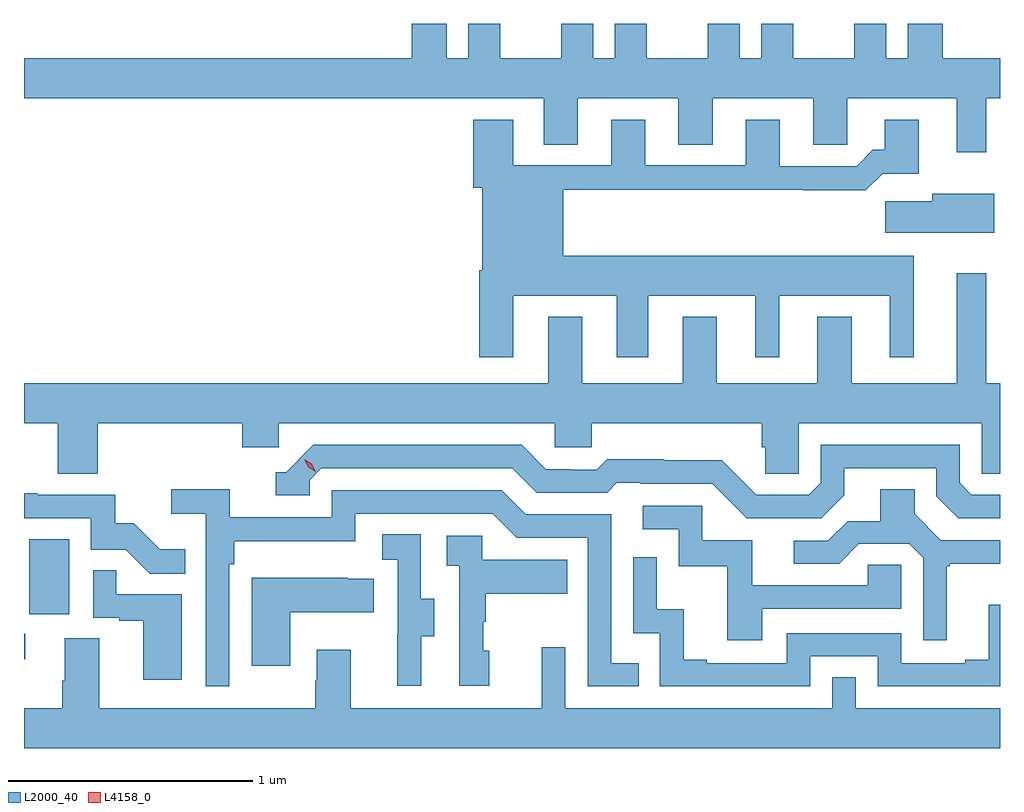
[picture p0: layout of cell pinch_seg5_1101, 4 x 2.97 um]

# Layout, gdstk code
import gdstk
lib = gdstk.Library(unit=1e-6, precision=1e-09)
def R(c, l, rs):  # rectangles x0, y0, x1, y1
    for r in rs: c.add(gdstk.rectangle(r[:2], r[2:], *l))
def P(c, l, *ps):  # polygons
    for p in ps: c.add(gdstk.Polygon(p, *l))
L2000_40 = (2000, 40)
L4158_0 = (4158, 0)

pinch_seg5_1101 = lib.new_cell('pinch_seg5_1101')
R(pinch_seg5_1101, L2000_40, [(818.423,849.132,818.428,849.237), (818.444,849.318,818.608,849.625)])
P(pinch_seg5_1101, L2000_40, [(822.367,851.432),(822.423,851.432),(822.423,851.596),(822.188,851.596),(822.188,851.737),(822.044,851.737),(822.044,851.596),(821.956,851.596),(821.956,851.737),(821.825,851.737),(821.825,851.596),(821.575,851.596),(821.575,851.737),(821.444,851.737),(821.444,851.596),(821.356,851.596),(821.356,851.737),(821.225,851.737),(821.225,851.596),(820.975,851.596),(820.975,851.737),(820.844,851.737),(820.844,851.596),(820.756,851.596),(820.756,851.737),(820.625,851.737),(820.625,851.596),(820.375,851.596),(820.375,851.737),(820.244,851.737),(820.244,851.596),(820.156,851.596),(820.156,851.737),(820.013,851.737),(820.013,851.596),(818.423,851.596),(818.423,851.432),(820.553,851.432),(820.553,851.242),(820.693,851.242),(820.693,851.432),(821.105,851.432),(821.105,851.242),(821.245,851.242),(821.245,851.432),(821.657,851.432),(821.657,851.242),(821.796,851.242),(821.796,851.432),(822.245,851.432),(822.245,851.211),(822.367,851.211)],
  [(820.429,850.622),(820.853,850.622),(820.853,850.371),(820.981,850.371),(820.981,850.622),(821.42,850.622),(821.42,850.371),(821.518,850.371),(821.518,850.622),(821.972,850.622),(821.972,850.371),(822.07,850.371),(822.07,850.786),(820.633,850.786),(820.633,851.056),(821.617,851.056),(821.617,851.054),(821.873,851.054),(821.942,851.123),(822.091,851.123),(822.091,851.344),(821.951,851.344),(821.951,851.221),(821.902,851.221),(821.835,851.154),(821.521,851.154),(821.521,851.344),(821.381,851.344),(821.381,851.157),(820.969,851.157),(820.969,851.344),(820.829,851.344),(820.829,851.157),(820.429,851.157),(820.429,851.344),(820.265,851.344),(820.265,851.064),(820.301,851.064),(820.301,850.726),(820.289,850.726),(820.289,850.371),(820.429,850.371)],
  [(822.4,851.041),(822.146,851.041),(822.146,851.009),(821.952,851.009),(821.952,850.88),(822.4,850.88)],
  [(818.726,850.1),(819.317,850.1),(819.317,850.002),(819.468,850.002),(819.468,850.1),(820.599,850.1),(820.599,850.002),(820.749,850.002),(820.749,850.1),(821.447,850.1),(821.447,850.002),(821.461,850.002),(821.461,849.892),(821.598,849.892),(821.598,850.1),(822.348,850.1),(822.348,849.892),(822.423,849.892),(822.423,850.264),(822.367,850.264),(822.367,850.714),(822.245,850.714),(822.245,850.264),(821.815,850.264),(821.815,850.537),(821.675,850.537),(821.675,850.264),(821.263,850.264),(821.263,850.537),(821.123,850.537),(821.123,850.264),(820.711,850.264),(820.711,850.537),(820.571,850.537),(820.571,850.264),(818.423,850.264),(818.423,850.1),(818.561,850.1),(818.561,849.892),(818.726,849.892)],
  [(821.785,849.805),(821.785,849.915),(822.162,849.915),(822.162,849.801),(822.252,849.711),(822.423,849.711),(822.423,849.807),(822.306,849.807),(822.258,849.855),(822.258,850.011),(821.688,850.011),(821.688,849.855),(821.64,849.807),(821.424,849.807),(821.282,849.949),(821.046,849.949),(821.046,849.952),(820.813,849.952),(820.771,849.909),(820.668,849.909),(820.668,849.912),(820.561,849.912),(820.462,850.011),(819.609,850.011),(819.498,849.9),(819.455,849.9),(819.455,849.804),(819.594,849.804),(819.594,849.867),(819.642,849.915),(820.425,849.915),(820.524,849.816),(820.813,849.816),(820.852,849.855),(820.951,849.855),(820.951,849.852),(821.244,849.852),(821.385,849.711),(821.691,849.711)],
  [(822.205,849.513),(822.217,849.513),(822.217,849.524),(822.423,849.524),(822.423,849.621),(822.18,849.621),(822.073,849.728),(822.073,849.83),(821.933,849.83),(821.933,849.698),(821.798,849.698),(821.718,849.618),(821.577,849.618),(821.577,849.525),(821.764,849.525),(821.845,849.606),(822.051,849.606),(822.108,849.549),(822.108,849.21),(822.205,849.21)],
  [(819.264,849.521),(819.284,849.521),(819.284,849.617),(819.78,849.617),(819.78,849.729),(820.344,849.729),(820.443,849.63),(820.734,849.63),(820.734,849.021),(820.943,849.021),(820.943,849.117),(820.83,849.117),(820.83,849.726),(820.48,849.726),(820.381,849.825),(819.684,849.825),(819.684,849.714),(819.266,849.714),(819.266,849.83),(819.027,849.83),(819.027,849.728),(819.168,849.728),(819.168,849.021),(819.264,849.021)],
  [(819.083,849.583),(818.979,849.583),(818.872,849.69),(818.796,849.69),(818.796,849.807),(818.477,849.807),(818.477,849.812),(818.423,849.812),(818.423,849.711),(818.697,849.711),(818.697,849.582),(818.841,849.582),(818.939,849.484),(819.083,849.484)],
  [(821.449,849.339),(822.018,849.339),(822.018,849.519),(821.881,849.519),(821.881,849.435),(821.407,849.435),(821.407,849.621),(821.202,849.621),(821.202,849.762),(820.959,849.762),(820.959,849.666),(821.106,849.666),(821.106,849.513),(821.305,849.513),(821.305,849.21),(821.449,849.21)],
  [(820.051,849.226),(820.105,849.226),(820.105,849.381),(820.05,849.381),(820.05,849.644),(819.891,849.644),(819.891,849.541),(819.954,849.541),(819.954,849.237),(819.953,849.237),(819.953,849.024),(820.051,849.024)],
  [(820.33,849.168),(820.305,849.168),(820.305,849.287),(820.315,849.287),(820.315,849.401),(820.649,849.401),(820.649,849.541),(820.302,849.541),(820.302,849.639),(820.155,849.639),(820.155,849.515),(820.206,849.515),(820.206,849.024),(820.33,849.024)],
  [(821.646,849.144),(821.922,849.144),(821.922,849.021),(822.423,849.021),(822.423,849.355),(822.377,849.355),(822.377,849.13),(822.281,849.13),(822.281,849.117),(822.018,849.117),(822.018,849.24),(821.55,849.24),(821.55,849.117),(821.221,849.117),(821.221,849.13),(821.126,849.13),(821.126,849.338),(821.016,849.338),(821.016,849.55),(820.92,849.55),(820.92,849.24),(821.028,849.24),(821.028,849.021),(821.646,849.021)],
  [(819.07,849.399),(818.801,849.399),(818.801,849.497),(818.706,849.497),(818.706,849.303),(818.813,849.303),(818.813,849.291),(818.912,849.291),(818.912,849.048),(819.07,849.048)],
  [(819.514,849.326),(819.857,849.326),(819.857,849.463),(819.749,849.463),(819.749,849.466),(819.356,849.466),(819.356,849.105),(819.514,849.105)],
  [(820.544,849.181),(820.544,848.932),(819.763,848.932),(819.763,849.172),(819.623,849.172),(819.623,849.044),(819.616,849.044),(819.616,848.932),(818.731,848.932),(818.731,849.218),(818.591,849.218),(818.591,849.044),(818.579,849.044),(818.579,848.932),(818.423,848.932),(818.423,848.768),(822.423,848.768),(822.423,848.932),(821.832,848.932),(821.832,849.059),(821.736,849.059),(821.736,848.932),(820.641,848.932),(820.641,849.181)])
P(pinch_seg5_1101, L4158_0, [(819.618,849.901),(819.587,849.92),(819.571,849.953),(819.571,849.953),(819.571,849.953),(819.602,849.934),(819.618,849.902),(819.618,849.901)])

lib.write_gds('pinch_seg5_1101.gds')
